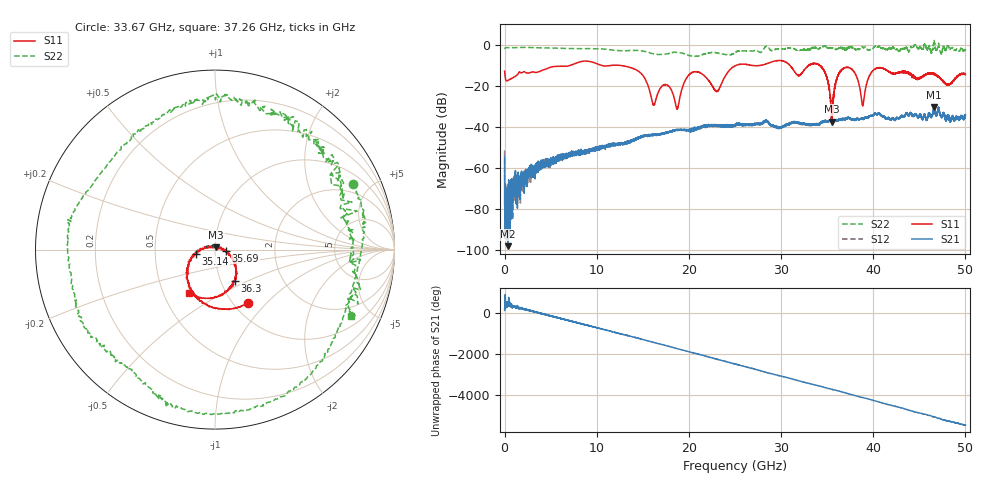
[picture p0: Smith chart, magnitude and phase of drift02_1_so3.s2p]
!Created with skrf (http://scikit-rf.org).
# Hz S RI R 50.0
!freq ReS11 ImS11 ReS21 ImS21 ReS12 ImS12 ReS22 ImS22
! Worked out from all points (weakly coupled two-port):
!   10001 points, 300 kHz to 50 GHz, reference 50 ohm
!   highest |S21| = -30.28 dB at 46.6 GHz (marker M1); lowest = -98.0 dB at 355.3 MHz (marker M2)
!   lowest |S11| = -37.4 dB at 35.54 GHz (marker M3), VSWR 1.03, Z = 50.6 + j1.24 ohm
!   |S11| at or under -10 dB: start of sweep to 7.176 GHz; 12.29 GHz to 25.16 GHz (12.87 GHz wide, 68.7 % of centre); 34.2 GHz to end of sweep (the widest 3 of 20)
!   |S22| runs from -5.7 to 2.1 dB; largest |S21 - S12| = 0.0031
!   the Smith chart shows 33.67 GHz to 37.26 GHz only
!   S11 on the Smith chart (normalised r, x): 33.67 GHz: 1.17, -0.79; 35.14 GHz: 0.81, -0.04; 35.69 GHz: 1.13, -0.01; 36.3 GHz: 1.17, -0.42; 37.26 GHz: 0.67, -0.35
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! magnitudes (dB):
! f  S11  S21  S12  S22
! 300 kHz  -12.9  -54.4  -51.5  -2.1
! 355.3 MHz  -17.4  -98.0  -75.4  -1.4
! 8.335 GHz  -8.2  -51.7  -52.3  -1.9
! 14.02 GHz  -11.7  -46.9  -46.0  -2.8
! 16.14 GHz  -29.2  -43.8  -44.1  -4.4
! 16.67 GHz  -23.1  -43.7  -43.9  -4.8
! 18.73 GHz  -31.3  -41.3  -41.6  -3.8
! 20.24 GHz  -13.8  -41.9  -41.7  -5.4
! 23.04 GHz  -22.7  -39.4  -39.4  -4.0
! 25 GHz  -10.3  -39.4  -39.6  -4.0
! 33.34 GHz  -9.4  -38.9  -38.8  -1.5
! 33.67 GHz  -9.1  -38.8  -38.4  -1.4
! 35.14 GHz  -19.3  -37.1  -37.1  -1.7
! 35.54 GHz  -37.4  -36.9  -36.9  -1.8
! 35.69 GHz  -24.3  -37.0  -36.7  -1.7
! 36.3 GHz  -13.7  -36.5  -36.4  -1.6
! 37.26 GHz  -11.0  -35.8  -35.7  -1.5
! 38.86 GHz  -29.8  -35.9  -36.1  -1.3
! 39.96 GHz  -12.7  -34.3  -34.6  -1.8
! 41.67 GHz  -13.1  -35.6  -35.7  -1.9
! 46.6 GHz  -14.0  -30.3  -30.2  1.8
! 50 GHz  -14.5  -34.3  -34.6  -2.6
